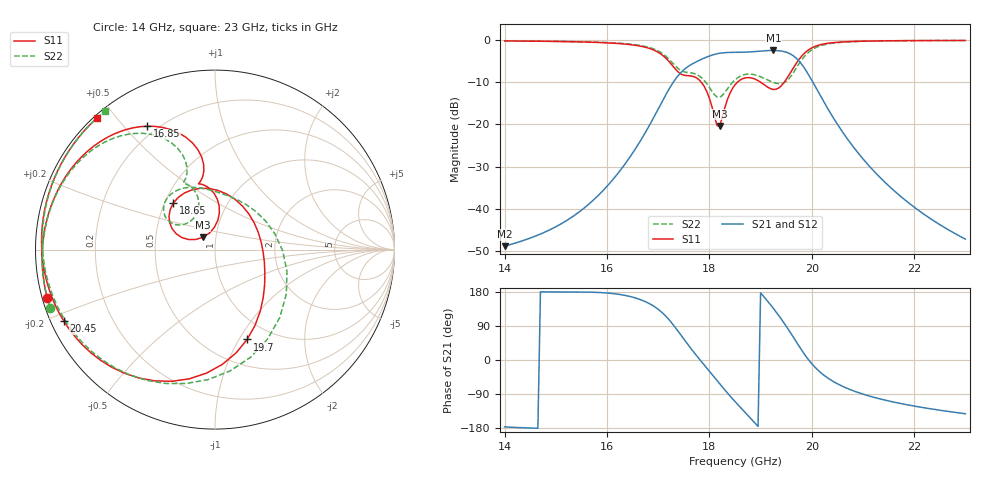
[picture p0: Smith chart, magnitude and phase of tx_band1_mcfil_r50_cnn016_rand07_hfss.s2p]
! Touchstone file exported from HFSS 3D Layout Design 2026.1.0
!  File:  D:/Work/SIM/ADS_AUTO_SIM/projects/RFSOC_RF/TX_Fillter.aedt
!  Generated:  05:07:34 AM Aug 31, 2026
!  Design:  TX_BAND1_MCFIL_R50_CNN016
!  Project:  TX_Fillter
# GHz S MA R 50.000000
! Terminal data exported
! Port[1] = Port1
! Port[2] = Port2
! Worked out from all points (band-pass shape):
!   181 points, 14 GHz to 23 GHz, reference 50 ohm
!   highest |S21| = -2.49 dB at 19.25 GHz (marker M1); lowest = -48.8 dB at 14 GHz (marker M2)
!   |S21| within 3 dB of the highest: 17.69 GHz to 19.78 GHz (2.091 GHz wide, 11.2 % of centre)
!   lowest |S11| = -20.3 dB at 18.2 GHz (marker M3), VSWR 1.21, Z = 43.3 + j5.99 ohm
!   |S11| at or under -10 dB: 17.84 GHz to 18.55 GHz (706.6 MHz wide, 3.88 % of centre); 19 GHz to 19.46 GHz (462.2 MHz wide, 2.4 % of centre)
!   |S22| runs from -13.6 to -0.1 dB; largest |S21 - S12| = 2.4e-14
!   S11 on the Smith chart (normalised r, x): 14 GHz: 0.01, -0.14; 16.85 GHz: 0.16, +0.58; 18.65 GHz: 0.55, +0.33; 19.7 GHz: 0.78, -1.08; 20.45 GHz: 0.04, -0.22; 23 GHz: 0.01, +0.45
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14  0.9731 -163.8  0.003639 -176.4  0.003639 -176.4  0.9748 -160.4
15.5  0.9464 165.9  0.009685 179.4  0.009685 179.4  0.9508 170.3
16.25  0.9039 144.7  0.02819 172.9  0.02819 172.9  0.9131 150.5
16.85  0.7851 118.9  0.1032 147.1  0.1032 147.1  0.8056 127.1
17  0.7132 110.3  0.1521 133.7  0.1521 133.7  0.7395 119.5
17.25  0.5216 98.2  0.2865 100.2  0.2865 100.2  0.5599 108.9
17.55  0.3788 104.1  0.4688 46.0  0.4688 46.0  0.4139 115.0
17.9  0.2809 87.4  0.6107 -13.4  0.6107 -13.4  0.3314 108.5
18.2  0.0961 134.5  0.6952 -62.7  0.6952 -62.7  0.2093 132.6
18.5  0.2943 149.2  0.7129 -109.5  0.7129 -109.5  0.3369 146.1
18.65  0.348 131.7  0.7145 -131.4  0.7145 -131.4  0.3832 137.0
19  0.316 77.9  0.7378 177.1  0.7378 177.1  0.3666 108.8
19.25  0.2594 21.5  0.7505 136.1  0.7505 136.1  0.3142 82.8
19.5  0.3408 -35.9  0.7156 89.3  0.7156 89.3  0.3236 29.8
19.7  0.5316 -70.3  0.6051 47.3  0.6051 47.3  0.4684 -32.0
19.85  0.6903 -94.0  0.4689 16.5  0.4689 16.5  0.6319 -71.8
20  0.8047 -114.6  0.3328 -9.8  0.3328 -9.8  0.7631 -102.1
20.2  0.8868 -135.9  0.2021 -36.2  0.2021 -36.2  0.8636 -130.4
20.45  0.932 -154.8  0.1123 -59.1  0.1123 -59.1  0.9211 -153.5
20.85  0.9605 -175.2  0.05066 -83.2  0.05066 -83.2  0.9571 -176.7
21.5  0.9765 163.2  0.01886 -108.1  0.01886 -108.1  0.9762 160.2
23  0.9849 131.8  0.004411 -141.8  0.004411 -141.8  0.9852 128.5
